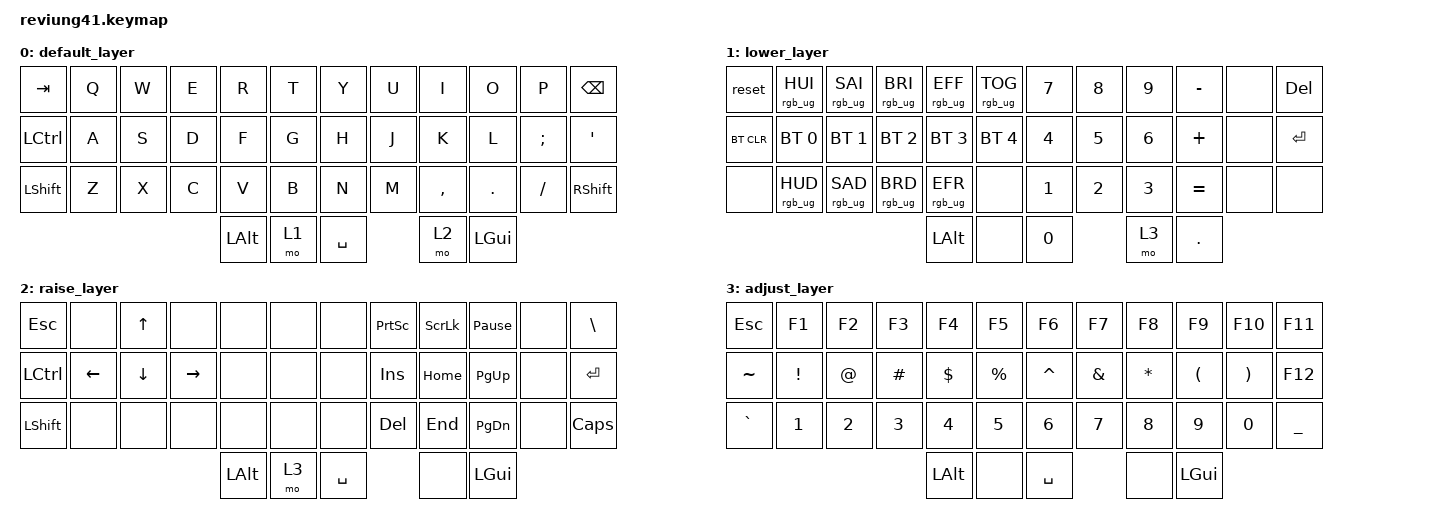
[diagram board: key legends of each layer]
/*
 * Copyright (c) 2020 The ZMK Contributors
 *
 * SPDX-License-Identifier: MIT
 */

#include <behaviors.dtsi>
#include <dt-bindings/zmk/keys.h>
#include <dt-bindings/zmk/bt.h>
#include <dt-bindings/zmk/rgb.h>

/ {
        keymap {
                compatible = "zmk,keymap";

                default_layer {
// -------------------------------------------------------------------------------------
// |  TAB |  Q  |  W  |  E  |  R  |  T  |   |  Y  |  U   |  I  |  O  |  P  | BKSP |
// | CTRL |  A  |  S  |  D  |  F  |  G  |   |  H  |  J   |  K  |  L  |  ;  |   '  |
// | SHFT |  Z  |  X  |  C  |  V  |  B  |   |  N  |  M   |  ,  |  .  |  /  | SHFT |
//                    | ALT | LWR |      SPC      | RSE  | GUI |
                        bindings = <
   &kp TAB    &kp Q  &kp W  &kp E  &kp R  &kp T     &kp Y  &kp U  &kp I      &kp O    &kp P     &kp  BSPC
   &kp LCTRL  &kp A  &kp S  &kp D  &kp F  &kp G     &kp H  &kp J  &kp K      &kp L    &kp SEMI  &kp  SQT
   &kp LSHFT  &kp Z  &kp X  &kp C  &kp V  &kp B     &kp N  &kp M  &kp COMMA  &kp DOT  &kp FSLH  &kp  RSHFT
                                &kp LALT     &mo 1     &kp SPACE     &mo 2      &kp LGUI
                        >;
                };

                lower_layer {
// ----------------------------------------------------------------------------------
// | RESET|RGB HUE+|RGB SAT+|RGB BRI+|RGB ANI+|RGB TOG|     |  7  |  8  |  9  |  -  |     | DEL |
// |BT CLR|  BT1   |   BT2  |   BT3  |   BT4  |   BT5 |     |  4  |  5  |  6  |  +  |     | RET |
// |      |RGB HUE-|RGB SAT-|RGB BRI-|RGB ANI-|       |     |  1  |  2  |  3  |  =  |     |     |
//                          |        |        |          0       | ADJ |  .  |
                        bindings = <
   &reset      &rgb_ug RGB_HUI  &rgb_ug RGB_SAI  &rgb_ug RGB_BRI  &rgb_ug RGB_EFF  &rgb_ug RGB_TOG    &kp N7  &kp N8  &kp N9  &kp MINUS &none  &kp DEL
   &bt BT_CLR  &bt BT_SEL 0     &bt BT_SEL 1     &bt BT_SEL 2     &bt BT_SEL 3     &bt BT_SEL 4       &kp N4  &kp N5  &kp N6  &kp PLUS  &none  &kp RET
   &none       &rgb_ug RGB_HUD  &rgb_ug RGB_SAD  &rgb_ug RGB_BRD  &rgb_ug RGB_EFR  &none              &kp N1  &kp N2  &kp N3  &kp EQUAL &none  &none
                                &kp LALT      &none       &kp N0        &mo 3       &kp DOT
                        >;
                };

                raise_layer {
// -----------------------------------------------------------------------------------------
// | ESC |     |  UP |     |     |     |   |     |  PRSC | SLCK | PAUSE|     |  \  |
// | CTRL| LFT | DWN | RGT |     |     |   |     |  INS  | HOME | PGUP |     | RET |
// | SHFT|     |     |     |     |     |   |     |  DEL  |  END | PGDN |     | CAPS|
//                   |     | ADJ |      SPC      |       |      |
                        bindings = <
   &kp ESC    &none     &kp UP    &none      &none  &none  &none  &kp PSCRN  &kp SLCK  &kp PAUSE_BREAK  &none  &kp BSLH  
   &kp LCTRL  &kp LEFT  &kp DOWN  &kp RIGHT  &none  &none  &none  &kp INS    &kp HOME  &kp PG_UP        &none  &kp RET  
   &kp LSHFT  &none     &none     &none      &none  &none  &none  &kp DEL    &kp END   &kp PG_DN        &none  &kp CLCK
                                 &kp LALT      &mo 3       &kp SPACE        &none      &kp LGUI
                        >;
                };

                adjust_layer {
// -----------------------------------------------------------------------------------------
// | ESC | F1  | F2  | F3  | F4  | F5  |   | F6  | F7  | F8  | F9  | F10 | F11 |
// |  ~  |  !  |  @  |  #  |  $  |  %  |   |  ^  |  &  |  *  |  (  |  )  | F12 |
// |  `  |  1  |  2  |  3  |  4  |  5  |   |  6  |  7  |  8  |  9  |  0  |  _  |
//                   |     |     |      SPC      |     |     |
                        bindings = <
   &kp ESC    &kp F1    &kp F2    &kp F3    &kp F4    &kp F5     &kp F6     &kp F7    &kp F8     &kp F9    &kp F10   &kp F11
   &kp TILDE  &kp EXCL  &kp AT    &kp HASH  &kp DLLR  &kp PRCNT  &kp CARET  &kp AMPS  &kp ASTRK  &kp LPAR  &kp RPAR  &kp F12
   &kp GRAVE  &kp N1    &kp N2    &kp N3    &kp N4    &kp N5     &kp N6     &kp N7    &kp N8     &kp N9    &kp N0    &kp UNDER
                                 &kp LALT      &none       &kp SPACE        &none      &kp LGUI
                        >;
                };
        };
};
